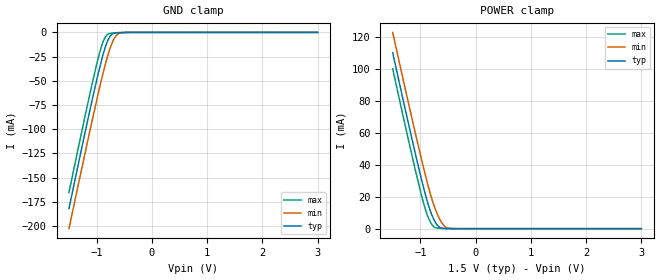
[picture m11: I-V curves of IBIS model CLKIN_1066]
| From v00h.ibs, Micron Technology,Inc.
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| MODEL CLKIN_1066 (Clock Input Model, 800/1066Mbps)
[Model]   CLKIN_1066
Model_type   Input
Vinl = 575.000mV
Vinh = 925.000mV
|   typ   min   max
|C_comp   0.508pF   0.433pF   0.583pF
C_comp_power_clamp   0.2540pF   0.2165pF   0.2915pF
C_comp_gnd_clamp   0.2540pF   0.2165pF   0.2915pF
[Model Spec]
| Input threshold voltage corners
Vinl   0.5750V   0.5375V   0.6125V
Vinh   0.9250V   0.8875V   0.9625V
| Dynamic Overshoot Parameters from DDR3 Specification
|D_overshoot_ampl_h   0.40   NA   NA
|D_overshoot_ampl_l   0.40   NA   NA
|D_overshoot_area_h   0.19n   NA   NA
|D_overshoot_area_l   0.19n   NA   NA
[Receiver Thresholds]
|Vth   =  0.750V
|Vth_min  =  0.7350V
|Vth_max  =  0.7650V
|Vinh_ac  =  0.175V
|Vinh_dc  =  0.100V
|Vinl_ac  = -0.175V
|Vinl_dc  = -0.100V
|Tslew_ac =  5.000ns |Not specified, so set to high value
|Threshold_sensitivity = 0.50
|Reference_supply Power_clamp_ref
|NOTE: If using the IBISCHK 4.2.1 or older parser, Differential receiver
|threshold parameters must be commented out because the parser generates
|errors for multiple differential models.
Vcross_low   = 0.600V
Vcross_high  = 0.900V
Vdiff_ac   = 350mV
Vdiff_dc   = 200mV
Tdiffslew_ac = 10.000ns |Not specified, so set to high value
[Voltage Range]   1.5000V   1.4250V   1.5750V
[POWER Clamp Reference]   1.5000V   1.4250V   1.5750V
| Junction Temperature (Ambient temp is 35C typ, 95C min, 0C max)
[Temperature Range]   50.0   110.0   0.0
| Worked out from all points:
|   GND clamp passes 1 mA (typ) near -0.69 V on its own axis
|   POWER clamp passes 1 mA (typ) near -0.66 V on its own axis
[GND Clamp]
|   Voltage   I(typ)   I(min)   I(max)
-1.5V     -182.1mA   -202.8mA   -165.5mA
-1.325V   -134.6mA   -155.8mA   -117.7mA
-1.095V   -73.66mA   -94.87mA   -56.73mA
-990mV    -47.33mA   -68.2mA    -31mA
-915mV    -29.98mA   -49.73mA   -15.17mA
-850mV    -16.74mA   -34.97mA   -5.553mA
-800mV    -8.751mA   -24.54mA   -2.116mA
-760mV    -4.346mA   -17.21mA   -1.076mA
-695mV    -1.087mA   -7.774mA   -638.6uA
-615mV    -294.3uA   -1.783mA   -368.4uA
-400mV    -18.12uA   -19.97uA   -28.36uA
3V        0A         0A         0A
[POWER Clamp]
|   Voltage   I(typ)   I(min)   I(max)
-1.5V     110.4mA    123.1mA    100.3mA
-1.095V   47.78mA    60.59mA    37.44mA
-975mV    30.33mA    42.95mA    20.34mA
-885mV    18.37mA    30.34mA    9.602mA
-850mV    14.35mA    25.81mA    6.45mA
-790mV    8.475mA    18.51mA    2.51mA
-720mV    3.504mA    11.47mA    589.6uA
-655mV    921.2uA    6.332mA    249.7uA
-615mV    368.2uA    3.834mA    176.8uA
-540mV    83.25uA    969.8uA    94.55uA
-365mV    8.461uA    12.7uA     12.41uA
3V        0A         0A         0A
